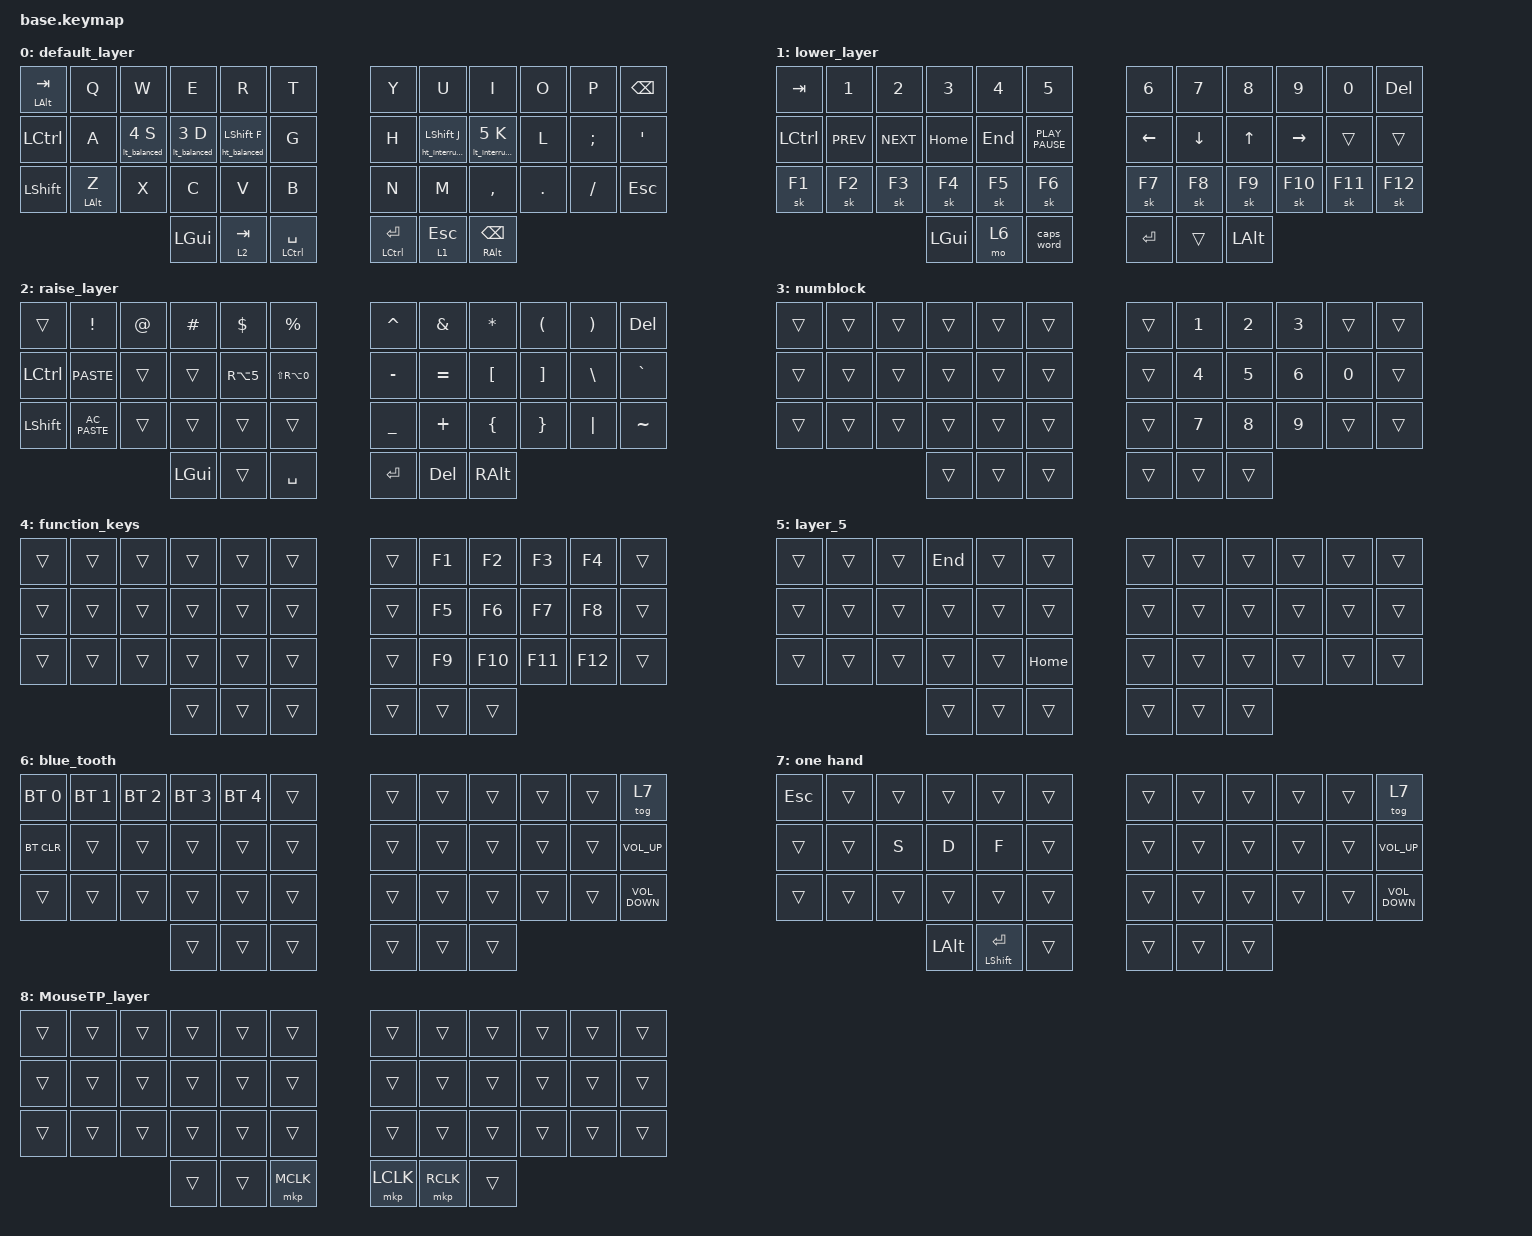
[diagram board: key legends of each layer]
/*
 * Copyright (c) 2020 The ZMK Contributors
 *
 * SPDX-License-Identifier: MIT
 */

// Define layer numbers
#define BASE 0
#define BASE_QWERTY 1
#define NAV_WORD 2
#define NUM_WORD 3
#define SYM_WORD 4
#define NAV 5
#define NUM 6
#define SYM 7
#define FUNC 8
#define ADJUST 9
#define LOWER 10
#define MOUSE_KEYS 11
#define MOUSE_TP 12
#define MOUSE_SET 13


// ZMK includes
#include <behaviors.dtsi>
#include <dt-bindings/zmk/keys.h>
#include <dt-bindings/zmk/bt.h>
#include <dt-bindings/zmk/rgb.h>
#include <dt-bindings/zmk/ext_power.h>


// Personal includes
#ifdef HAS_MOUSE_KEYS
     #include "includes/mouse_keys.dtsi"
#endif


     #include "includes/mouse_tp.dtsi"


#include "includes/custom_keycodes.dtsi"
#include "includes/settings.dtsi"
//#include "includes/settings_pd.dtsi"
#include "includes/conditional_layers.dtsi"
#include "includes/combos.dtsi"
#include "includes/behaviours_other.dtsi"


/ {

    keymap {
        compatible = "zmk,keymap";

        default_layer {
            // -----------------------------------------------------------------------------------------
            // |  TAB |  Q  |  W  |  E  |  R  |  T  |   |  Y  |  U   |  I  |  O  |  P  | BKSP |
            // | CTRL |  A  |  S  |  D  |  F  |  G  |   |  H  |  J   |  K  |  L  |  ;  |  '   |
            // | SHFT |  Z  |  X  |  C  |  V  |  B  |   |  N  |  M   |  ,  |  .  |  /  | ESC  |
            //                    | GUI | LWR | SPC |   | ENT | RSE  | ALT |

            bindings = <
&mt LEFT_ALT TAB  &kp Q       &kp W             &kp E             &kp R                 &kp T              &kp Y          &kp U                    &kp I                    &kp O    &kp P     &kp BSPC
&kp LCTRL         &kp A       &lt_balanced 4 S  &lt_balanced 3 D  &ht_balanced LSHFT F  &kp G              &kp H          &ht_interrupted LSHFT J  &lt_interrupted 5 K      &kp L    &kp SEMI  &kp SQT
&kp LSHIFT        &mt LALT Z  &kp X             &kp C             &kp V                 &kp B              &kp N          &kp M                    &kp COMMA                &kp DOT  &kp FSLH  &kp ESC
                                                &kp LGUI          &lt 2 TAB             &mt LCTRL SPACE    &mt LCTRL RET  &lt 1 ESC                &mt RIGHT_ALT BACKSPACE
            >;
        };

        lower_layer {
            // -----------------------------------------------------------------------------------------
            // |  TAB |  1  |  2  |  3  |  4  |  5  |   |  6  |  7  |  8  |  9  |  0  | BKSP |
            // | LCTRL|     |     |     |     |     |   | LFT | DWN |  UP | RGT |     |      |
            // | SHFT |     |     |     |     |     |   |     |     |     |     |     |      |
            //                    | GUI |     | SPC |   | ENT |     | ALT |

            bindings = <
&kp TAB    &kp N1      &kp N2      &kp N3    &kp N4   &kp N5              &kp N6    &kp N7    &kp N8        &kp N9     &kp N0   &kp DEL
&kp LCTRL  &kp K_PREV  &kp K_NEXT  &kp HOME  &kp END  &kp K_PLAY_PAUSE    &kp LEFT  &kp DOWN  &kp UP        &kp RIGHT  &trans   &trans
&sk F1     &sk F2      &sk F3      &sk F4    &sk F5   &sk F6              &sk F7    &sk F8    &sk F9        &sk F10    &sk F11  &sk F12
                                   &kp LGUI  &mo 6    &caps_word          &kp RET   &trans    &kp LEFT_ALT
            >;
        };

        raise_layer {
            // -----------------------------------------------------------------------------------------
            // |  TAB |  !  |  @  |  #  |  $  |  %  |   |  ^  |  &  |  *  |  (  |  )  | BKSP |
            // | CTRL |     |     |     |     |     |   |  -  |  =  |  [  |  ]  |  \  |  `   |
            // | SHFT |     |     |     |     |     |   |  _  |  +  |  {  |  }  | "|" |  ~   |
            //                    | GUI |     | SPC |   | ENT |     | ALT |

            bindings = <
&trans     &kp EXCL        &kp AT  &kp HASH  &kp DLLR          &kp PRCNT         &kp CARET  &kp AMPS    &kp ASTERISK   &kp LPAR  &kp RPAR  &kp DEL
&kp LCTRL  &kp K_PASTE     &trans  &trans    &kp RA(NUMBER_5)  &kp LS(RA(N0))    &kp MINUS  &kp EQUAL   &kp LBKT       &kp RBKT  &kp BSLH  &kp GRAVE
&kp LSHFT  &kp C_AC_PASTE  &trans  &trans    &trans            &trans            &kp UNDER  &kp PLUS    &kp LBRC       &kp RBRC  &kp PIPE  &kp TILDE
                                   &kp LGUI  &trans            &kp SPACE         &kp RET    &kp DELETE  &kp RIGHT_ALT
            >;
        };

        numblock {
            bindings = <
&trans  &trans  &trans  &trans  &trans  &trans    &trans  &kp NUMBER_1  &kp NUMBER_2  &kp NUMBER_3  &trans        &trans
&trans  &trans  &trans  &trans  &trans  &trans    &trans  &kp NUMBER_4  &kp NUMBER_5  &kp NUMBER_6  &kp NUMBER_0  &trans
&trans  &trans  &trans  &trans  &trans  &trans    &trans  &kp NUMBER_7  &kp NUMBER_8  &kp NUMBER_9  &trans        &trans
                        &trans  &trans  &trans    &trans  &trans        &trans
            >;
        };

        function_keys {
            bindings = <
&trans  &trans  &trans  &trans  &trans  &trans    &trans  &kp F1  &kp F2   &kp F3   &kp F4   &trans
&trans  &trans  &trans  &trans  &trans  &trans    &trans  &kp F5  &kp F6   &kp F7   &kp F8   &trans
&trans  &trans  &trans  &trans  &trans  &trans    &trans  &kp F9  &kp F10  &kp F11  &kp F12  &trans
                        &trans  &trans  &trans    &trans  &trans  &trans
            >;
        };

        layer_5 {
            bindings = <
&trans  &trans  &trans  &kp END  &trans  &trans      &trans  &trans  &trans  &trans  &trans  &trans
&trans  &trans  &trans  &trans   &trans  &trans      &trans  &trans  &trans  &trans  &trans  &trans
&trans  &trans  &trans  &trans   &trans  &kp HOME    &trans  &trans  &trans  &trans  &trans  &trans
                        &trans   &trans  &trans      &trans  &trans  &trans
            >;
        };

        blue_tooth {
            bindings = <
&bt BT_SEL 0  &bt BT_SEL 1  &bt BT_SEL 2  &bt BT_SEL 3  &bt BT_SEL 4  &trans    &trans  &trans  &trans  &trans  &trans  &tog 7
&bt BT_CLR    &trans        &trans        &trans        &trans        &trans    &trans  &trans  &trans  &trans  &trans  &kp C_VOLUME_UP
&trans        &trans        &trans        &trans        &trans        &trans    &trans  &trans  &trans  &trans  &trans  &kp C_VOLUME_DOWN
                                          &trans        &trans        &trans    &trans  &trans  &trans
            >;
        };

        layer_7 {
            bindings = <
&kp ESC  &trans  &trans  &trans        &trans         &trans    &trans  &trans  &trans  &trans  &trans  &tog 7
&trans   &trans  &kp S   &kp D         &kp F          &trans    &trans  &trans  &trans  &trans  &trans  &kp C_VOLUME_UP
&trans   &trans  &trans  &trans        &trans         &trans    &trans  &trans  &trans  &trans  &trans  &kp C_VOLUME_DOWN
                         &kp LEFT_ALT  &mt LSHFT RET  &trans    &trans  &trans  &trans
            >;

            label = "one hand";
        };

        MouseTP_layer {
            bindings = <
&trans  &trans  &trans  &trans   &trans  &trans      &trans  &trans  &trans  &trans  &trans  &trans
&trans  &trans  &trans  &trans   &trans  &trans      &trans  &trans  &trans  &trans  &trans  &trans
&trans  &trans  &trans  &trans   &trans  &trans      &trans  &trans  &trans  &trans  &trans  &trans
                        &trans   &trans  &mkp MCLK      &mkp LCLK  &mkp RCLK  &trans
            >;
        };

    };
};
